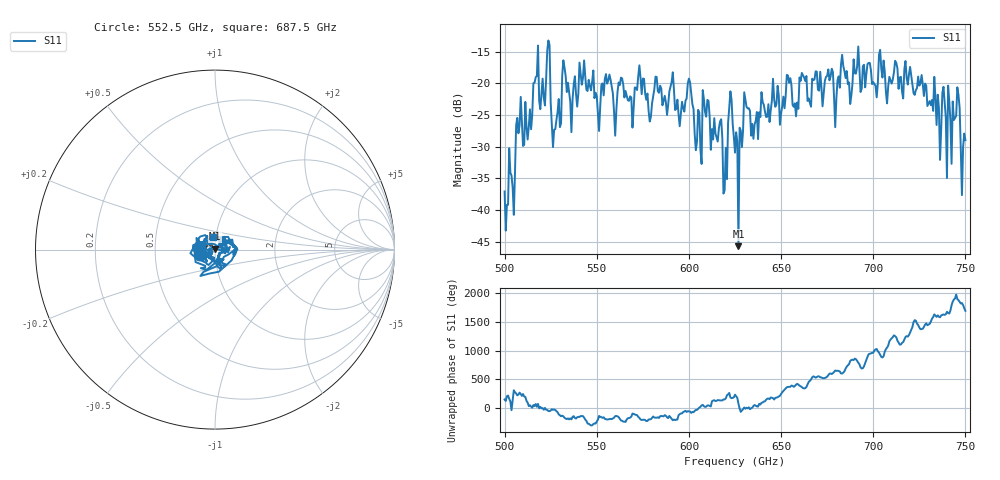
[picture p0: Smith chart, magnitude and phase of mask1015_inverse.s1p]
!Created with skrf (http://scikit-rf.org).
# GHz S MA R 50.0
!freq magS11 angS11
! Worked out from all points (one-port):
!   401 points, 500 GHz to 750 GHz, reference 50 ohm
!   lowest |S11| = -45.7 dB at 626.9 GHz (marker M1), VSWR 1.01, Z = 50.1 + j0.504 ohm
!   |S11| at or under -10 dB: start of sweep to end of sweep
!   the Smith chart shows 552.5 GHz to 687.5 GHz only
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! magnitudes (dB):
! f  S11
! 500 GHz  -37.0
! 504.4 GHz  -36.5
! 507.5 GHz  -27.9
! 513.8 GHz  -24.1
! 516.9 GHz  -19.0
! 520.6 GHz  -19.3
! 523.8 GHz  -13.2
! 526.9 GHz  -27.3
! 531.2 GHz  -18.8
! 556.2 GHz  -19.6
! 560 GHz  -28.3
! 562.5 GHz  -20.3
! 593.8 GHz  -22.6
! 600.6 GHz  -19.9
! 605.6 GHz  -24.6
! 608.8 GHz  -24.5
! 619.4 GHz  -36.9
! 622.5 GHz  -21.3
! 625 GHz  -30.9
! 626.9 GHz  -45.7
! 631.2 GHz  -23.7
! 635 GHz  -28.7
! 656.2 GHz  -23.4
! 687.5 GHz  -23.3
! 718.8 GHz  -20.2
! 741.2 GHz  -22.8
! 745.6 GHz  -20.6
! 750 GHz  -29.0
